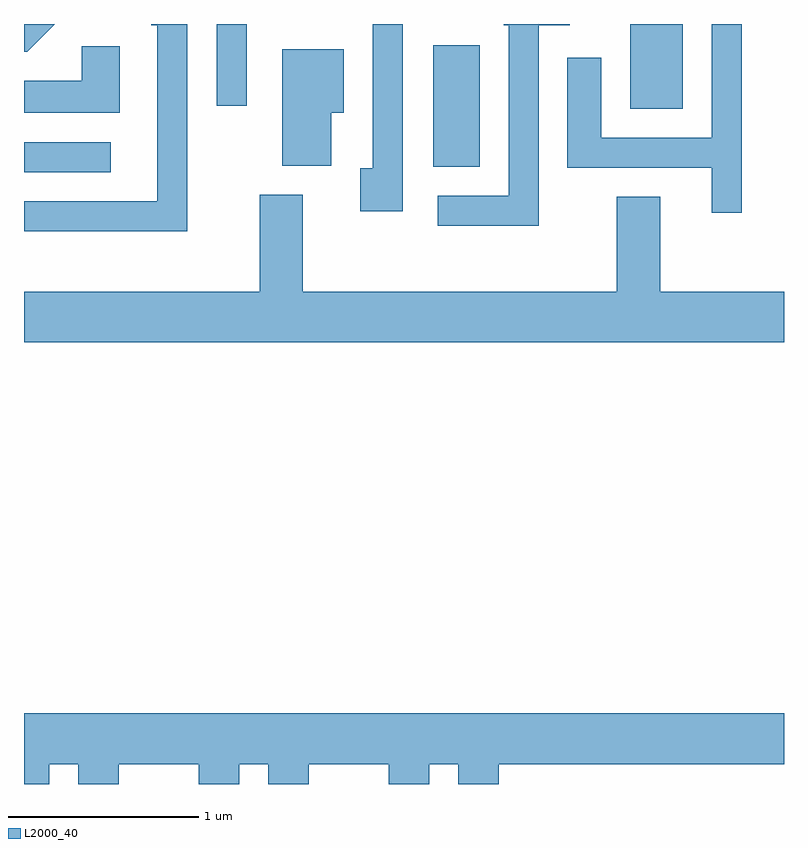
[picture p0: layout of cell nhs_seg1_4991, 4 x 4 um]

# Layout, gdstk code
import gdstk
lib = gdstk.Library(unit=1e-6, precision=1e-09)
def R(c, l, rs):  # rectangles x0, y0, x1, y1
    for r in rs: c.add(gdstk.rectangle(r[:2], r[2:], *l))
def P(c, l, *ps):  # polygons
    for p in ps: c.add(gdstk.Polygon(p, *l))
L2000_40 = (2000, 40)

nhs_seg1_4991 = lib.new_cell('nhs_seg1_4991')
R(nhs_seg1_4991, L2000_40, [(335.611,884.931,336.068,885.089), (337.766,884.961,338.009,885.599), (338.801,885.266,339.079,885.712), (336.626,885.283,336.784,885.712)])
P(nhs_seg1_4991, L2000_40, [(338.319,885.706),(338.484,885.706),(338.484,885.712),(338.136,885.712),(338.136,885.706),(338.161,885.706),(338.161,884.809),(337.788,884.809),(337.788,884.651),(338.319,884.651)],
  [(339.389,885.712),(339.231,885.712),(339.231,885.114),(338.649,885.114),(338.649,885.534),(338.471,885.534),(338.471,884.956),(339.231,884.956),(339.231,884.718),(339.389,884.718)],
  [(336.469,885.712),(336.281,885.712),(336.281,885.706),(336.311,885.706),(336.311,884.779),(335.611,884.779),(335.611,884.621),(336.469,884.621)],
  [(335.773,885.712),(335.611,885.712),(335.611,885.566),(335.627,885.566)],
  [(337.604,885.712),(337.446,885.712),(337.446,884.954),(337.381,884.954),(337.381,884.726),(337.604,884.726)],
  [(336.114,885.594),(335.916,885.594),(335.916,885.414),(335.611,885.414),(335.611,885.246),(336.114,885.246)],
  [(337.229,885.246),(337.294,885.246),(337.294,885.579),(336.971,885.579),(336.971,884.966),(337.229,884.966)],
  [(339.611,884.304),(338.959,884.304),(338.959,884.804),(338.731,884.804),(338.731,884.304),(337.079,884.304),(337.079,884.814),(336.851,884.814),(336.851,884.304),(335.611,884.304),(335.611,884.036),(339.611,884.036)],
  [(335.744,881.816),(335.896,881.816),(335.896,881.712),(336.109,881.712),(336.109,881.816),(336.531,881.816),(336.531,881.712),(336.744,881.712),(336.744,881.816),(336.896,881.816),(336.896,881.712),(337.109,881.712),(337.109,881.816),(337.531,881.816),(337.531,881.712),(337.744,881.712),(337.744,881.816),(337.896,881.816),(337.896,881.712),(338.109,881.712),(338.109,881.816),(339.611,881.816),(339.611,882.084),(335.611,882.084),(335.611,881.712),(335.744,881.712)])

lib.write_gds('nhs_seg1_4991.gds')
